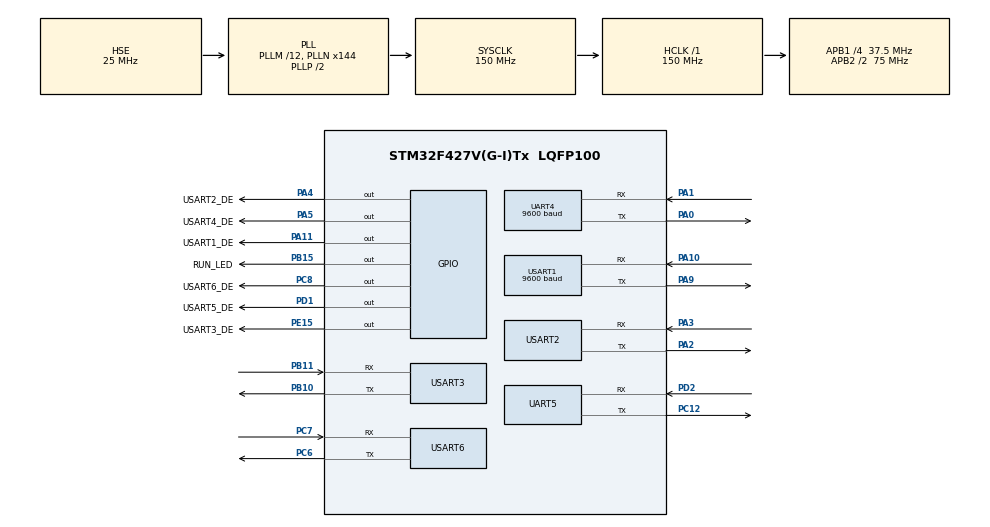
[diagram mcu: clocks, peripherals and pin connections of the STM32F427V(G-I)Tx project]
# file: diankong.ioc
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Mcu.Family=STM32F4
Mcu.Name=STM32F427V(G-I)Tx
Mcu.Package=LQFP100
NVIC.PriorityGroup=NVIC_PRIORITYGROUP_4
NVIC.UART4_IRQn=true\:0\:0\:false\:false\:true\:true\:true\:true
NVIC.UART5_IRQn=true\:0\:0\:false\:false\:true\:true\:true\:true
NVIC.USART1_IRQn=true\:0\:0\:false\:false\:true\:true\:true\:true
NVIC.USART2_IRQn=true\:0\:0\:false\:false\:true\:true\:true\:true
NVIC.USART3_IRQn=true\:0\:0\:false\:false\:true\:true\:true\:true
NVIC.USART6_IRQn=true\:0\:0\:false\:false\:true\:true\:true\:true
PA0/WKUP.Mode=Asynchronous
PA0/WKUP.Signal=UART4_TX
PA1.Mode=Asynchronous
PA1.Signal=UART4_RX
PA10.Mode=Asynchronous
PA10.Signal=USART1_RX
PA11.GPIO_Label=USART1_DE
PA11.Signal=GPIO_Output
PA13.Mode=Serial_Wire
PA13.Signal=SYS_JTMS-SWDIO
PA14.Mode=Serial_Wire
PA14.Signal=SYS_JTCK-SWCLK
PA2.Mode=Asynchronous
PA2.Signal=USART2_TX
PA3.Mode=Asynchronous
PA3.Signal=USART2_RX
PA4.GPIO_Label=USART2_DE
PA4.Signal=GPIO_Output
PA5.GPIO_Label=USART4_DE
PA5.Signal=GPIO_Output
PA9.Mode=Asynchronous
PA9.Signal=USART1_TX
PB10.Mode=Asynchronous
PB10.Signal=USART3_TX
PB11.Mode=Asynchronous
PB11.Signal=USART3_RX
PB15.GPIO_Label=RUN_LED
PB15.GPIO_PuPd=GPIO_PULLUP
PB15.Signal=GPIO_Output
PC12.Mode=Asynchronous
PC12.Signal=UART5_TX
PC6.Mode=Asynchronous
PC6.Signal=USART6_TX
PC7.Mode=Asynchronous
PC7.Signal=USART6_RX
PC8.GPIO_Label=USART6_DE
PC8.Signal=GPIO_Output
PD1.GPIO_Label=USART5_DE
PD1.Signal=GPIO_Output
PD2.Mode=Asynchronous
PD2.Signal=UART5_RX
PE15.GPIO_Label=USART3_DE
PE15.Signal=GPIO_Output
PH0/OSC_IN.Mode=HSE-External-Oscillator
PH0/OSC_IN.Signal=RCC_OSC_IN
PH1/OSC_OUT.Mode=HSE-External-Oscillator
PH1/OSC_OUT.Signal=RCC_OSC_OUT
ProjectManager.HeapSize=0x200
ProjectManager.StackSize=0x400
ProjectManager.TargetToolchain=MDK-ARM V5.32
RCC.48MHZClocksFreq_Value=75000000
RCC.AHBFreq_Value=150000000
RCC.APB1CLKDivider=RCC_HCLK_DIV4
RCC.APB1Freq_Value=37500000
RCC.APB1TimFreq_Value=75000000
RCC.APB2CLKDivider=RCC_HCLK_DIV2
RCC.APB2Freq_Value=75000000
RCC.APB2TimFreq_Value=150000000
RCC.CortexFreq_Value=150000000
RCC.HCLKFreq_Value=150000000
RCC.HSE_VALUE=25000000
RCC.HSI_VALUE=16000000
RCC.LSE_VALUE=32768
RCC.PLLM=12
RCC.PLLN=144
RCC.PLLSourceVirtual=RCC_PLLSOURCE_HSE
RCC.SYSCLKFreq_VALUE=150000000
RCC.SYSCLKSource=RCC_SYSCLKSOURCE_PLLCLK
RCC.VCOOutputFreq_Value=300000000
UART4.BaudRate=9600
UART4.VirtualMode=Asynchronous
UART5.VirtualMode=Asynchronous
USART1.BaudRate=9600
USART1.VirtualMode=VM_ASYNC
USART2.VirtualMode=VM_ASYNC
USART3.VirtualMode=VM_ASYNC
USART6.VirtualMode=VM_ASYNC
board=custom

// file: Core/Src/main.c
/* USER CODE BEGIN Header */
/**
  ******************************************************************************
  * @file           : main.c
  * @brief          : Main program body
  ******************************************************************************
  * @attention
  *
  * Copyright (c) 2026 STMicroelectronics.
  * All rights reserved.
  *
  * This software is licensed under terms that can be found in the LICENSE file
  * in the root directory of this software component.
  * If no LICENSE file comes with this software, it is provided AS-IS.
  *
  ******************************************************************************
  */
/* USER CODE END Header */
#include "main.h"
#include "usart.h"
#include "gpio.h"

/* USER CODE BEGIN Includes */
// [修改开始]：新增状态机头文件和字符串处理头文件
#include "state_machine.h" // 引入状态机模块的头文件
#include <string.h>        // 用于内存操作函数，如memset
#include "config_manager.h"
#include "debug_commands.h" // 包含调试命令处理函数的声明
// [修改结束]
/* USER CODE END Includes */

/* USER CODE BEGIN PV */
volatile uint8_t debugMode = 0;

// [新增]：全局作业配置变量的定义
JobConfig_t g_job_config = {
    .trigger_mode = TRIGGER_MODE_NONE,
    .params.delay_time_ms = 0
};

/* USER CODE END PV */

void SystemClock_Config(void);

int main(void)
{

  /* MCU Configuration--------------------------------------------------------*/

  /* Reset of all peripherals, Initializes the Flash interface and the Systick. */
  HAL_Init();

  /* Configure the system clock */
  SystemClock_Config();

  /* Initialize all configured peripherals */
  MX_GPIO_Init();
  MX_UART4_Init();
  MX_UART5_Init();
  MX_USART1_UART_Init();
  MX_USART2_UART_Init();
  MX_USART3_UART_Init();
  MX_USART6_UART_Init();
  /* USER CODE BEGIN 2 */
  extern uint8_t aRx1Buffer;
  Config_Load();
  HAL_UART_Receive_IT(DEBUG_UART, &aRx1Buffer, 1);
  // [修改结束]
  /* USER CODE END 2 */

  /* Infinite loop */
  /* USER CODE BEGIN WHILE */
  HAL_Delay(5000); // 示例：系统启动后等待1秒，给调试工具连接的时间
  while (1)
  {
    if (debugMode == 1)
    {
        // 调试模式下的操作
        HandleDebugMode_Independent(); // 调用独立的调试处理函数
        // 可以根据需要增加延迟，避免CPU空转过快
        // osDelay(10); // 如果有RTOS，使用 osDelay
        HAL_Delay(1000); // 如果没有RTOS，使用 HAL_Delay
				TurnOn_RUN_LED();
				HAL_Delay(1000); // 如果没有RTOS，使用 HAL_Delay
				TurnOff_RUN_LED();
        continue; // 跳过状态机的正常执行
    }

    //current_pulse_count = Get_Flow_Pulse_Count();
    if (g_job_config.state_machine_enable)
    {
        StateMachine_Run();
    }
    /* USER CODE END WHILE */

  }
}

void SystemClock_Config(void)
{
  RCC_OscInitTypeDef RCC_OscInitStruct = {0};
  RCC_ClkInitTypeDef RCC_ClkInitStruct = {0};

  /** Configure the main internal regulator output voltage
  */
  __HAL_RCC_PWR_CLK_ENABLE();
  __HAL_PWR_VOLTAGESCALING_CONFIG(PWR_REGULATOR_VOLTAGE_SCALE1);

  /** Initializes the RCC Oscillators according to the specified parameters
  * in the RCC_OscInitTypeDef structure.
  */
  RCC_OscInitStruct.OscillatorType = RCC_OSCILLATORTYPE_HSE;
  RCC_OscInitStruct.HSEState = RCC_HSE_ON;
  RCC_OscInitStruct.PLL.PLLState = RCC_PLL_ON;
  RCC_OscInitStruct.PLL.PLLSource = RCC_PLLSOURCE_HSE;
  RCC_OscInitStruct.PLL.PLLM = 12;
  RCC_OscInitStruct.PLL.PLLN = 144;
  RCC_OscInitStruct.PLL.PLLP = RCC_PLLP_DIV2;
  RCC_OscInitStruct.PLL.PLLQ = 4;
  if (HAL_RCC_OscConfig(&RCC_OscInitStruct) != HAL_OK)
  {
    Error_Handler();
  }

  /** Initializes the CPU, AHB and APB buses clocks
  */
  RCC_ClkInitStruct.ClockType = RCC_CLOCKTYPE_HCLK|RCC_CLOCKTYPE_SYSCLK
                              |RCC_CLOCKTYPE_PCLK1|RCC_CLOCKTYPE_PCLK2;
  RCC_ClkInitStruct.SYSCLKSource = RCC_SYSCLKSOURCE_PLLCLK;
  RCC_ClkInitStruct.AHBCLKDivider = RCC_SYSCLK_DIV1;
  RCC_ClkInitStruct.APB1CLKDivider = RCC_HCLK_DIV4;
  RCC_ClkInitStruct.APB2CLKDivider = RCC_HCLK_DIV2;

  if (HAL_RCC_ClockConfig(&RCC_ClkInitStruct, FLASH_LATENCY_4) != HAL_OK)
  {
    Error_Handler();
  }
}

void Error_Handler(void)
{
  /* USER CODE BEGIN Error_Handler_Debug */
  /* User can add his own implementation to report the HAL error return state */
  __disable_irq();
  while (1)
  {
    // [修改开始]：错误发生时，通过 LED 闪烁进行指示
    Toggle_RUN_LED(); // 调用状态机中定义的 LED 切换函数
    HAL_Delay(100);   // 短暂延迟，实现快闪效果
    // [修改结束]
  }
  /* USER CODE END Error_Handler_Debug */
}
